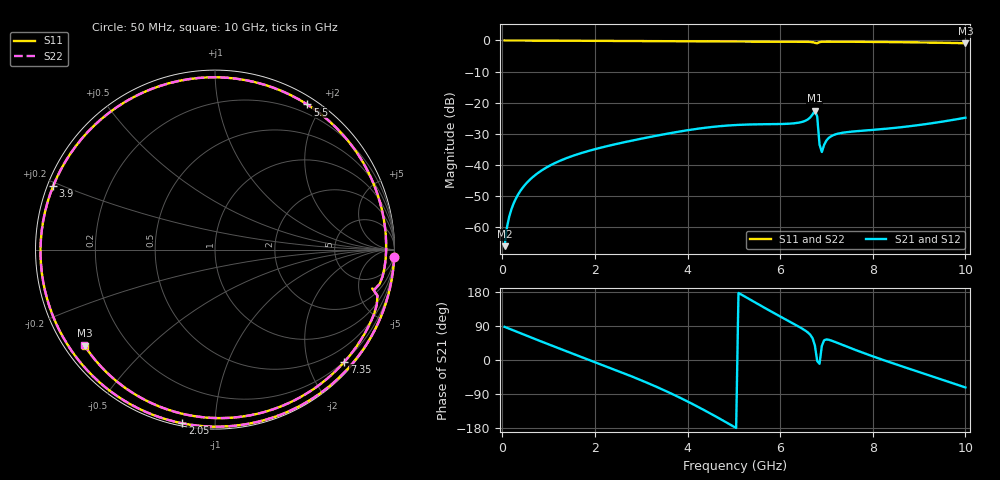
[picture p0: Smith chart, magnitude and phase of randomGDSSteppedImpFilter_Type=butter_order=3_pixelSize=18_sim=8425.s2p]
! freq	dB(S11)	phase(S11)	dB(S12)	phase(S12)
!  dB(S21)	phase(S21)	dB(S22)	phase(S22)
!S-par simulation data
#  GHz  S  DB  R 50
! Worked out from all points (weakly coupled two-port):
!   200 points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, 50 MHz to 10 GHz, reference 50 ohm
!   highest |S21| = -22.57 dB at 6.75 GHz (marker M1); lowest = -66.2 dB at 50 MHz (marker M2)
!   lowest |S11| = -0.9 dB at 10 GHz (marker M3), VSWR 19.52, Z = 2.84 - j16.4 ohm
!   |S11| at or under -10 dB: nowhere
!   |S22| runs from -0.9 to 0.0 dB; largest |S21 - S12| = 0
!   S11 on the Smith chart (normalised r, x): 50 MHz: 0, -46; 2.05 GHz: 0.01, -0.83; 3.9 GHz: 0.02, +0.19; 5.5 GHz: 0.09, +1.82; 7.35 GHz: 0.19, -2.67; 10 GHz: 0.06, -0.33
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0.05  -0.00 -2.5  -66.17 87.4  -66.17 87.4  -0.00 -2.5
0.2  -0.01 -9.8  -54.16 80.1  -54.16 80.1  -0.01 -9.8
0.5  -0.03 -24.5  -46.27 65.4  -46.27 65.4  -0.03 -24.5
1.75  -0.11 -85.7  -36.02 6.1  -36.02 6.1  -0.11 -85.7
2.05  -0.13 -100.7  -34.78 -7.8  -34.78 -7.8  -0.13 -100.7
2.7  -0.18 -134.0  -32.53 -38.6  -32.53 -38.6  -0.18 -133.9
3.4  -0.23 -172.1  -30.44 -74.6  -30.44 -74.6  -0.23 -172.1
3.9  -0.28 158.7  -29.12 -103.3  -29.12 -103.3  -0.28 158.7
4.5  -0.32 121.4  -27.87 -141.6  -27.87 -141.6  -0.32 121.5
5.05  -0.36 86.1  -27.20 -179.5  -27.20 -179.5  -0.36 86.1
5.5  -0.37 57.6  -26.98 149.0  -26.98 149.0  -0.37 57.6
6.1  -0.38 21.5  -26.84 108.3  -26.84 108.3  -0.38 21.5
6.7  -0.57 -11.8  -23.81 57.5  -23.81 57.5  -0.56 -11.8
6.75  -0.78 -14.2  -22.57 38.3  -22.57 38.3  -0.77 -14.2
6.8  -0.89 -13.9  -24.44 -2.7  -24.44 -2.7  -0.89 -13.9
6.85  -0.53 -15.8  -33.49 -10.0  -33.49 -10.0  -0.53 -15.8
6.9  -0.42 -18.9  -35.88 37.1  -35.88 37.1  -0.42 -18.9
7.05  -0.39 -26.9  -31.35 53.4  -31.35 53.4  -0.39 -26.9
7.35  -0.41 -40.9  -29.69 39.7  -29.69 39.7  -0.40 -40.9
8.35  -0.52 -81.8  -28.31 -5.2  -28.31 -5.2  -0.52 -81.8
9.15  -0.66 -111.5  -26.90 -37.6  -26.90 -37.6  -0.67 -111.5
10  -0.89 -143.7  -24.85 -72.4  -24.85 -72.4  -0.89 -143.7
